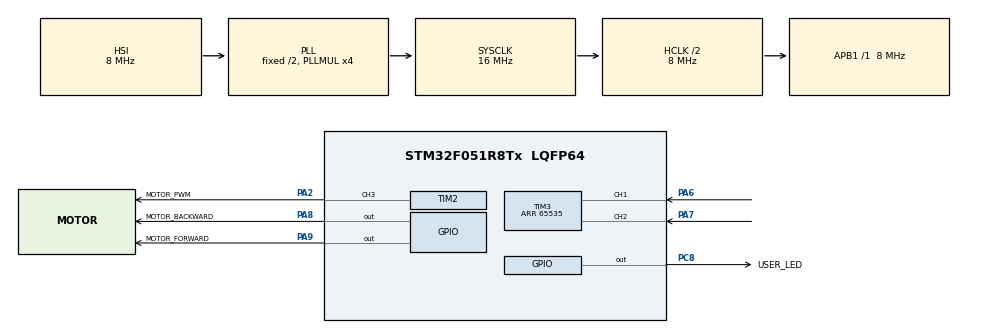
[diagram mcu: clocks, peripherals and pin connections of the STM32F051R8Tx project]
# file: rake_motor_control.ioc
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Mcu.Family=STM32F0
PA9.GPIO_Label=MOTOR_FORWARD
PC8.Signal=GPIO_Output
RCC.SYSCLKSource=RCC_SYSCLKSOURCE_PLLCLK
ProjectManager.StackSize=0x400
PC8.GPIO_Label=USER_LED
PA13.Signal=SYS_SWDIO
PA8.GPIO_Label=MOTOR_BACKWARD
ProjectManager.TargetToolchain=MDK-ARM V5.27
TIM3.IC2Filter=10
RCC.HCLKFreq_Value=8000000
TIM3.Period=65535
PA9.Signal=GPIO_Output
RCC.AHBFreq_Value=8000000
PF0-OSC_IN.Mode=HSE-External-Oscillator
SH.S_TIM3_CH2.0=TIM3_CH2,Encoder_Interface
TIM3.IC1Filter=10
board=custom
RCC.PLLMUL=RCC_PLL_MUL4
SH.S_TIM2_CH3.0=TIM2_CH3,PWM Generation3 CH3
PA14.Mode=Serial_Wire
TIM2.Channel-PWM\ Generation3\ CH3=TIM_CHANNEL_3
PA8.Signal=GPIO_Output
RCC.AHBCLKDivider=RCC_SYSCLK_DIV2
SH.S_TIM3_CH1.0=TIM3_CH1,Encoder_Interface
TIM2.Period=799
PA13.Mode=Serial_Wire
Mcu.Name=STM32F051R8Tx
PA2.Signal=S_TIM2_CH3
RCC.SYSCLKFreq_VALUE=16000000
Mcu.Package=LQFP64
PA6.Signal=S_TIM3_CH1
PA2.GPIO_Label=MOTOR_PWM
PA14.Signal=SYS_SWCLK
ProjectManager.HeapSize=0x200
RCC.APB1TimFreq_Value=8000000
PF0-OSC_IN.Signal=RCC_OSC_IN
PF1-OSC_OUT.Mode=HSE-External-Oscillator
RCC.APB1Freq_Value=8000000
PF1-OSC_OUT.Signal=RCC_OSC_OUT
PA7.Signal=S_TIM3_CH2

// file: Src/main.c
/* USER CODE BEGIN Header */
/**
  ******************************************************************************
  * @file           : main.c
  * @brief          : Main program body
  ******************************************************************************
  ** This notice applies to any and all portions of this file
  * that are not between comment pairs USER CODE BEGIN and
  * USER CODE END. Other portions of this file, whether
  * inserted by the user or by software development tools
  * are owned by their respective copyright owners.
  *
  * COPYRIGHT(c) 2020 STMicroelectronics
  *
  * Redistribution and use in source and binary forms, with or without modification,
  * are permitted provided that the following conditions are met:
  *   1. Redistributions of source code must retain the above copyright notice,
  *      this list of conditions and the following disclaimer.
  *   2. Redistributions in binary form must reproduce the above copyright notice,
  *      this list of conditions and the following disclaimer in the documentation
  *      and/or other materials provided with the distribution.
  *   3. Neither the name of STMicroelectronics nor the names of its contributors
  *      may be used to endorse or promote products derived from this software
  *      without specific prior written permission.
  *
  * THIS SOFTWARE IS PROVIDED BY THE COPYRIGHT HOLDERS AND CONTRIBUTORS "AS IS"
  * AND ANY EXPRESS OR IMPLIED WARRANTIES, INCLUDING, BUT NOT LIMITED TO, THE
  * IMPLIED WARRANTIES OF MERCHANTABILITY AND FITNESS FOR A PARTICULAR PURPOSE ARE
  * DISCLAIMED. IN NO EVENT SHALL THE COPYRIGHT HOLDER OR CONTRIBUTORS BE LIABLE
  * FOR ANY DIRECT, INDIRECT, INCIDENTAL, SPECIAL, EXEMPLARY, OR CONSEQUENTIAL
  * DAMAGES (INCLUDING, BUT NOT LIMITED TO, PROCUREMENT OF SUBSTITUTE GOODS OR
  * SERVICES; LOSS OF USE, DATA, OR PROFITS; OR BUSINESS INTERRUPTION) HOWEVER
  * CAUSED AND ON ANY THEORY OF LIABILITY, WHETHER IN CONTRACT, STRICT LIABILITY,
  * OR TORT (INCLUDING NEGLIGENCE OR OTHERWISE) ARISING IN ANY WAY OUT OF THE USE
  * OF THIS SOFTWARE, EVEN IF ADVISED OF THE POSSIBILITY OF SUCH DAMAGE.
  *
  ******************************************************************************
  */
/* USER CODE END Header */
#include "main.h"

/* USER CODE BEGIN Includes */
#include "rake_led_library.h"

/* USER CODE END Includes */

TIM_HandleTypeDef htim2;
TIM_HandleTypeDef htim3;

/* USER CODE BEGIN PV */

int encoder_Counter_u16 = 0;
uint16_t timer_Counter_u16 = 0;

struct motorStruct {
	uint16_t motor_Pwm_Pin_u16;
	uint16_t motor_Forward_Pin_u16;
	uint16_t motor_Backward_Pin_u16;
	uint16_t motor_Pwm_Value_u16;
	uint16_t motor_Direction_u16;
};

struct motorStruct motor = {TIM_CHANNEL_3, GPIO_PIN_8, GPIO_PIN_9, 0, 0};

/* USER CODE END PV */

void SystemClock_Config(void);
static void MX_GPIO_Init(void);
static void MX_TIM2_Init(void);
static void MX_TIM3_Init(void);
/* USER CODE BEGIN PFP */

void RAKE_Motor_Control(int motor_Direction,int pwm_Value){
	HAL_GPIO_WritePin(GPIOA, motor_Direction, GPIO_PIN_SET);
	__HAL_TIM_SET_COMPARE(&htim2, TIM_CHANNEL_3, pwm_Value);
}

void RAKE_Encoder_Count(){
	encoder_Counter_u16 = (TIM3->CNT);
}

/* USER CODE END PFP */

int main(void)
{

  /* MCU Configuration--------------------------------------------------------*/

  /* Reset of all peripherals, Initializes the Flash interface and the Systick. */
  HAL_Init();

  /* Configure the system clock */
  SystemClock_Config();

  /* Initialize all configured peripherals */
  MX_GPIO_Init();
  MX_TIM2_Init();
  MX_TIM3_Init();
  /* USER CODE BEGIN 2 */
	HAL_TIM_PWM_Start(&htim2, TIM_CHANNEL_3);
	HAL_TIM_Encoder_Start(&htim3, TIM_CHANNEL_1);
	HAL_TIM_Encoder_Start(&htim3, TIM_CHANNEL_2);

  /* USER CODE END 2 */

  /* Infinite loop */
  while (1)
  {

    /* USER CODE BEGIN 3 */
		RAKE_Encoder_Count();
		RAKE_Motor_Control(motor.motor_Backward_Pin_u16, 600);
		encoder_Counter_u16 = __HAL_TIM_GET_COUNTER(&htim3);

  }
  /* USER CODE END 3 */
}

void SystemClock_Config(void)
{
  RCC_OscInitTypeDef RCC_OscInitStruct = {0};
  RCC_ClkInitTypeDef RCC_ClkInitStruct = {0};

  /** Initializes the RCC Oscillators according to the specified parameters
  * in the RCC_OscInitTypeDef structure.
  */
  RCC_OscInitStruct.OscillatorType = RCC_OSCILLATORTYPE_HSI;
  RCC_OscInitStruct.HSIState = RCC_HSI_ON;
  RCC_OscInitStruct.HSICalibrationValue = RCC_HSICALIBRATION_DEFAULT;
  RCC_OscInitStruct.PLL.PLLState = RCC_PLL_ON;
  RCC_OscInitStruct.PLL.PLLSource = RCC_PLLSOURCE_HSI;
  RCC_OscInitStruct.PLL.PLLMUL = RCC_PLL_MUL4;
  RCC_OscInitStruct.PLL.PREDIV = RCC_PREDIV_DIV1;
  if (HAL_RCC_OscConfig(&RCC_OscInitStruct) != HAL_OK)
  {
    Error_Handler();
  }
  /** Initializes the CPU, AHB and APB buses clocks
  */
  RCC_ClkInitStruct.ClockType = RCC_CLOCKTYPE_HCLK|RCC_CLOCKTYPE_SYSCLK
                              |RCC_CLOCKTYPE_PCLK1;
  RCC_ClkInitStruct.SYSCLKSource = RCC_SYSCLKSOURCE_PLLCLK;
  RCC_ClkInitStruct.AHBCLKDivider = RCC_SYSCLK_DIV2;
  RCC_ClkInitStruct.APB1CLKDivider = RCC_HCLK_DIV1;

  if (HAL_RCC_ClockConfig(&RCC_ClkInitStruct, FLASH_LATENCY_0) != HAL_OK)
  {
    Error_Handler();
  }
}

static void MX_TIM2_Init(void)
{

  TIM_MasterConfigTypeDef sMasterConfig = {0};
  TIM_OC_InitTypeDef sConfigOC = {0};

  htim2.Instance = TIM2;
  htim2.Init.Prescaler = 0;
  htim2.Init.CounterMode = TIM_COUNTERMODE_UP;
  htim2.Init.Period = 799;
  htim2.Init.ClockDivision = TIM_CLOCKDIVISION_DIV1;
  htim2.Init.AutoReloadPreload = TIM_AUTORELOAD_PRELOAD_DISABLE;
  if (HAL_TIM_PWM_Init(&htim2) != HAL_OK)
  {
    Error_Handler();
  }
  sMasterConfig.MasterOutputTrigger = TIM_TRGO_RESET;
  sMasterConfig.MasterSlaveMode = TIM_MASTERSLAVEMODE_DISABLE;
  if (HAL_TIMEx_MasterConfigSynchronization(&htim2, &sMasterConfig) != HAL_OK)
  {
    Error_Handler();
  }
  sConfigOC.OCMode = TIM_OCMODE_PWM1;
  sConfigOC.Pulse = 0;
  sConfigOC.OCPolarity = TIM_OCPOLARITY_HIGH;
  sConfigOC.OCFastMode = TIM_OCFAST_DISABLE;
  if (HAL_TIM_PWM_ConfigChannel(&htim2, &sConfigOC, TIM_CHANNEL_3) != HAL_OK)
  {
    Error_Handler();
  }
  HAL_TIM_MspPostInit(&htim2);

}

static void MX_TIM3_Init(void)
{

  TIM_Encoder_InitTypeDef sConfig = {0};
  TIM_MasterConfigTypeDef sMasterConfig = {0};

  htim3.Instance = TIM3;
  htim3.Init.Prescaler = 0;
  htim3.Init.CounterMode = TIM_COUNTERMODE_UP;
  htim3.Init.Period = 65535;
  htim3.Init.ClockDivision = TIM_CLOCKDIVISION_DIV1;
  htim3.Init.AutoReloadPreload = TIM_AUTORELOAD_PRELOAD_DISABLE;
  sConfig.EncoderMode = TIM_ENCODERMODE_TI1;
  sConfig.IC1Polarity = TIM_ICPOLARITY_RISING;
  sConfig.IC1Selection = TIM_ICSELECTION_DIRECTTI;
  sConfig.IC1Prescaler = TIM_ICPSC_DIV1;
  sConfig.IC1Filter = 10;
  sConfig.IC2Polarity = TIM_ICPOLARITY_RISING;
  sConfig.IC2Selection = TIM_ICSELECTION_DIRECTTI;
  sConfig.IC2Prescaler = TIM_ICPSC_DIV1;
  sConfig.IC2Filter = 10;
  if (HAL_TIM_Encoder_Init(&htim3, &sConfig) != HAL_OK)
  {
    Error_Handler();
  }
  sMasterConfig.MasterOutputTrigger = TIM_TRGO_RESET;
  sMasterConfig.MasterSlaveMode = TIM_MASTERSLAVEMODE_DISABLE;
  if (HAL_TIMEx_MasterConfigSynchronization(&htim3, &sMasterConfig) != HAL_OK)
  {
    Error_Handler();
  }

}

static void MX_GPIO_Init(void)
{
  GPIO_InitTypeDef GPIO_InitStruct = {0};

  /* GPIO Ports Clock Enable */
  __HAL_RCC_GPIOF_CLK_ENABLE();
  __HAL_RCC_GPIOA_CLK_ENABLE();
  __HAL_RCC_GPIOC_CLK_ENABLE();

  /*Configure GPIO pin Output Level */
  HAL_GPIO_WritePin(USER_LED_GPIO_Port, USER_LED_Pin, GPIO_PIN_RESET);

  /*Configure GPIO pin Output Level */
  HAL_GPIO_WritePin(GPIOA, MOTOR_BACKWARD_Pin|MOTOR_FORWARD_Pin, GPIO_PIN_RESET);

  /*Configure GPIO pin : USER_LED_Pin */
  GPIO_InitStruct.Pin = USER_LED_Pin;
  GPIO_InitStruct.Mode = GPIO_MODE_OUTPUT_PP;
  GPIO_InitStruct.Pull = GPIO_NOPULL;
  GPIO_InitStruct.Speed = GPIO_SPEED_FREQ_LOW;
  HAL_GPIO_Init(USER_LED_GPIO_Port, &GPIO_InitStruct);

  /*Configure GPIO pins : MOTOR_BACKWARD_Pin MOTOR_FORWARD_Pin */
  GPIO_InitStruct.Pin = MOTOR_BACKWARD_Pin|MOTOR_FORWARD_Pin;
  GPIO_InitStruct.Mode = GPIO_MODE_OUTPUT_PP;
  GPIO_InitStruct.Pull = GPIO_NOPULL;
  GPIO_InitStruct.Speed = GPIO_SPEED_FREQ_LOW;
  HAL_GPIO_Init(GPIOA, &GPIO_InitStruct);

}

void Error_Handler(void)
{
}

/************************ (C) COPYRIGHT STMicroelectronics *****END OF FILE****/
